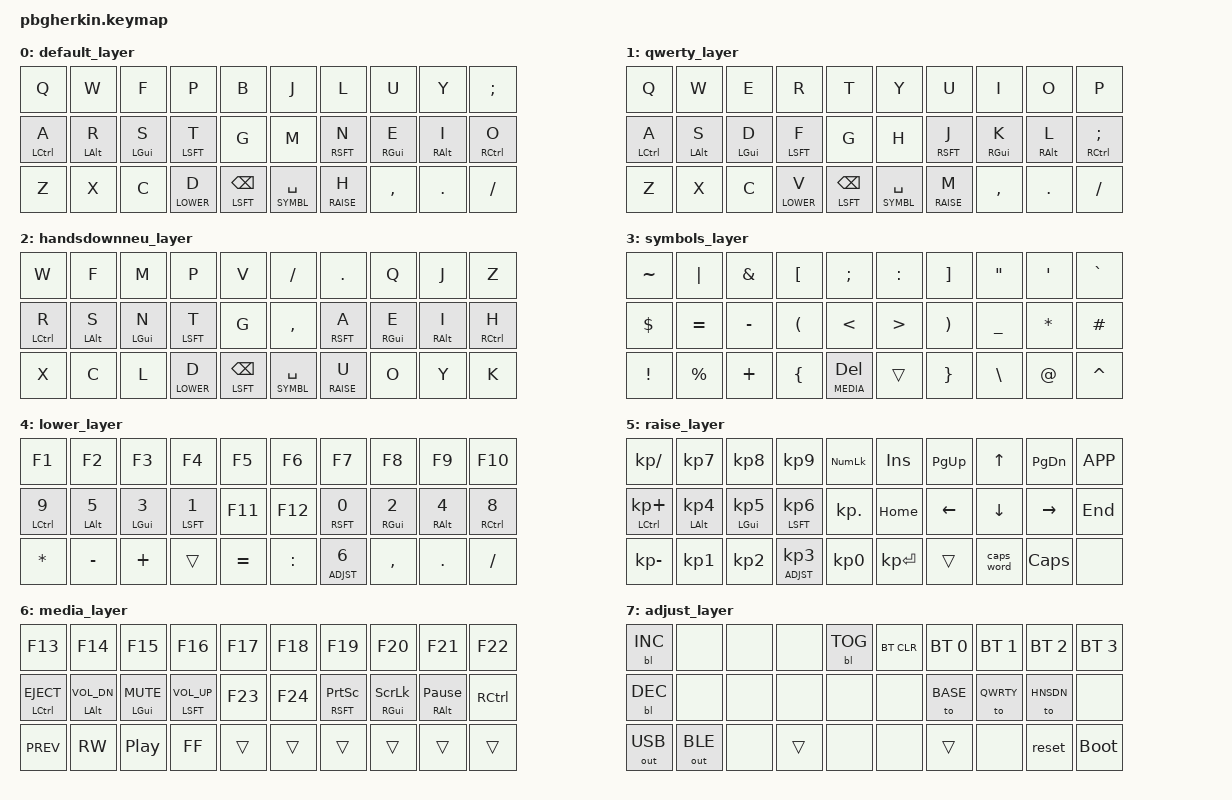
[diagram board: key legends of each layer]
/*
 * Copyright (c) 2021-22 purple-rw
 *
 * SPDX-License-Identifier: MIT
 */

#include <behaviors.dtsi>
#include <dt-bindings/zmk/keys.h>
#include <dt-bindings/zmk/bt.h>
#include <dt-bindings/zmk/outputs.h>

#define BASE  0     // alphas (Colemak-DH)
#define QWRTY 1     // alphas (Qwerty)
#define HNSDN 2     // alphas (Hands Down Neu)
#define SYMBL 3     // symbols
#define LOWER 4     // number row & functions
#define RAISE 5     // keypad & navigation
#define MEDIA 6     // multimedia & functions2
#define ADJST 7     // bluetooth

// Special keys
#define ZOOMOUT      LA(LG(MINUS))
#define ZOOMIN       LA(LG(EQUAL))
#define M_UNDO       LG(Z)
#define M_CUT        LG(X)
#define M_COPY       LG(C)
#define M_PASTE      LG(V)
#define M_SELALL     LG(A)
#define M_TMUX       LC(T)
#define NON_US_TILDE LS(NON_US_HASH)
#define NON_US_PIPE  LS(NON_US_BSLH)

&lt {
    tapping-term-ms = <200>;
    quick_tap_ms = <200>;
    flavor = "balanced";
};

&mt {
    tapping-term-ms = <200>;
    quick_tap_ms = <200>;
    flavor = "balanced";
};

&caps_word {
    continue-list = <UNDERSCORE BACKSPACE DELETE MINUS DOT>;
};

/ {
    behaviors {
        hm: homerow_mods {
            compatible = "zmk,behavior-hold-tap";
            label = "HOMEROW_MODS";
            #binding-cells = <2>;
            flavor = "tap-preferred";
            tapping-term-ms = <200>;
            quick-tap-ms = <200>;
            bindings = <&kp>, <&kp>;
        };

        ph: positional_hold_tap {
            compatible = "zmk,behavior-hold-tap";
            label = "POSITIONAL_HOLD_TAP";
            #binding-cells = <2>;
            flavor = "tap-preferred";
            tapping-term-ms = <200>;
            quick-tap-ms = <200>;
            bindings = <&kp>, <&kp>;
            hold-trigger-key-positions = < 5  6  7  8  9
                                          15 16 17 18 19
                                                27 28 29>;
        };

        th: thumb_hold_tap {
            compatible = "zmk,behavior-hold-tap";
            label = "THUMB_HOLD_TAP";
            #binding-cells = <2>;
            flavor = "balanced";
            tapping-term-ms = <200>;
            quick-tap-ms = <0>;         // no key repeat
            bindings = <&mo>, <&kp>;
        };

        combos {
            compatible = "zmk,combos";

// Colemak (Horizontal Combos)
// -------------------------------------------------------------
// |     |<-  Esc  ->|     |     |     |     |     |     |     |
// |     |     |     |<-   V   ->|<-   K   ->|     |     |     |
// |     |<-  Tab  ->|<- Bkspc ->|<- Space ->|<- Enter ->|     |
// -------------------------------------------------------------
            combo_esc   { timeout-ms = <50>; key-positions = < 1  2>; bindings = <&kp ESC>;   layers = <BASE QWRTY HNSDN SYMBL>; };
            combo_tab   { timeout-ms = <50>; key-positions = <21 22>; bindings = <&kp TAB>;   layers = <BASE QWRTY HNSDN SYMBL>; };
            combo_bspc  { timeout-ms = <50>; key-positions = <23 24>; bindings = <&kp BSPC>;  layers = <BASE QWRTY HNSDN SYMBL>; };
            combo_space { timeout-ms = <50>; key-positions = <25 26>; bindings = <&kp SPACE>; layers = <BASE QWRTY HNSDN SYMBL>; };
            combo_enter { timeout-ms = <50>; key-positions = <27 28>; bindings = <&kp ENTER>; layers = <BASE QWRTY HNSDN SYMBL>; };
            combo_v     { timeout-ms = <50>; key-positions = <13 14>; bindings = <&kp V>;     layers = <BASE>; };
            combo_k     { timeout-ms = <50>; key-positions = <15 16>; bindings = <&kp K>;     layers = <BASE>; };

// Qwerty (Horizontal Combos)
// -------------------------------------------------------------
// |     |<-  Esc  ->|     |     |     |     |     |     |     |
// |     |     |     |<-   B   ->|<-   N   ->|     |     |     |
// |     |<-  Tab  ->|<- Bkspc ->|<- Space ->|<- Enter ->|     |
// -------------------------------------------------------------
            combo_b     { timeout-ms = <50>; key-positions = <13 14>; bindings = <&kp B>;     layers = <QWRTY HNSDN>; };
            combo_n     { timeout-ms = <50>; key-positions = <15 16>; bindings = <&kp N>;     layers = <QWRTY>; };

// Hands Down Neu 30 (Horizontal Combos)
// -------------------------------------------------------------
// |     |<-  Esc  ->|     |     |     |     |     |     |     |
// |     |     |     |<-   B   ->|<-   ;   ->|     |     |     |
// |     |<-  Tab  ->|<- Bkspc ->|<- Space ->|<- Enter ->|     |
// -------------------------------------------------------------
            combo_semi  { timeout-ms = <50>; key-positions = <15 16>; bindings = <&kp SEMI>;  layers = <HNSDN>; };

// Symbols (Horizontal Combos)
// -------------------------------------------------------------
// |     |     |     |     |     |     |     |     |     |     |
// |     |     |     |<-   /   ->|<-   ?   ->|     |     |     |
// |     |     |     |     |     |     |     |     |     |     |
// -------------------------------------------------------------
            combo_slsh2 { timeout-ms = <50>; key-positions = <13 14>; bindings = <&kp FSLH>;  layers = <SYMBL>; };
            combo_qmak2 { timeout-ms = <50>; key-positions = <15 16>; bindings = <&kp QMARK>; layers = <SYMBL>; };

// Number Row & Functions (Horizontal Combos)
// -------------------------------------------------------------
// |     |     |     |     |     |     |     |     |     |     |
// |     |     |     |<-   7   ->|<-   6   ->|     |     |     |
// |     |     |     |     |     |     |     |     |     |     |
// -------------------------------------------------------------
            combo_7     { timeout-ms = <50>; key-positions = <13 14>; bindings = <&kp N7>;    layers = <LOWER>; };
            combo_6     { timeout-ms = <50>; key-positions = <15 16>; bindings = <&kp N6>;    layers = <LOWER>; };

// Keypad & Navigation (Horizontal Combos)
// -------------------------------------------------------------
// |<-   =   ->|     |     |     |     |    Zm-   Zm+    |     |
// |     |     |     |<-   *   ->|     |     |     |     |     |
// |     |     |     |     |     |     |     |     |     |     |
// -------------------------------------------------------------
            combo_kpeql { timeout-ms = <50>; key-positions = < 0  1>; bindings = <&kp KP_EQUAL>;    layers = <RAISE>; };
            combo_kpmul { timeout-ms = <50>; key-positions = <13 14>; bindings = <&kp KP_MULTIPLY>; layers = <RAISE>; };
            combo_zmout { timeout-ms = <50>; key-positions = < 6  7>; bindings = <&kp ZOOMOUT>;     layers = <RAISE>; };
            combo_zmin  { timeout-ms = <50>; key-positions = < 7  8>; bindings = <&kp ZOOMIN>;      layers = <RAISE>; };

// Media (Horizontal Combos)
// -------------------------------------------------------------
// |     |     |     |     |     |     |     |     |     |     |
// |     |     |     |<- Next  ->|     |     |     |     |     |
// |     |     |     |     |     |     |     |     |     |     |
// -------------------------------------------------------------
            combo_next  { timeout-ms = <50>; key-positions = <13 14>; bindings = <&kp C_NEXT>;  layers = <MEDIA>; };


// Bluetooth & 
(Horizontal Combos)
// -------------------------------------------------------------
// |     |     |     |     |     |     |    BT4   BT5   BT6    |
// |     |     |     |     |     |     |     |     |     |     |
// |     |     |     |     |     |     |     |     |     |     |
// -------------------------------------------------------------
            combo_bt4   { timeout-ms = <50>; key-positions = < 6  7>; bindings = <&bt BT_SEL 4>; layers = <ADJST>; };
            combo_bt5   { timeout-ms = <50>; key-positions = < 7  8>; bindings = <&bt BT_SEL 5>; layers = <ADJST>; };
            combo_bt6   { timeout-ms = <50>; key-positions = < 8  9>; bindings = <&bt BT_SEL 6>; layers = <ADJST>; };
/*
            combo_blinc { timeout-ms = <50>; key-positions = < 1  2>; bindings = <&bl BL_INC>;   layers = <ADJST>; };
            combo_bldec { timeout-ms = <50>; key-positions = <11 12>; bindings = <&bl BL_DEC>;   layers = <ADJST>; };
*/
        };
    };

    keymap {
        compatible = "zmk,keymap";

        default_layer {
// (Hold)
// -------------------------------------------------------------
// |     |     |     |     |     |     |     |     |     |     |
// |LCtrl| LAlt| LGui|Shift|     |     |Shift| RGui| RAlt|RCtrl|
// |     |     |     |LOWER|LShft|SYMBL|RAISE|     |     |     |
// -------------------------------------------------------------
// Colemak-DH
// -------------------------------------------------------------
// |  Q  |  W  |  F  |  P  |  B  |  J  |  L  |  U  |  Y  |  ;  |
// |  A  |  R  |  S  |  T  |  G  |  M  |  N  |  E  |  I  |  O  |
// |  Z  |  X  |  C  |  D  |BkSpc|Space|  H  |  ,  |  .  |  /  |
// -------------------------------------------------------------
            bindings = < 
    &kp Q       &kp W       &kp F       &kp P       &kp B         &kp J           &kp L       &kp U       &kp Y       &kp SEMI
    &hm LCTRL A &hm LALT R  &hm LGUI S  &hm LSFT T  &kp G         &kp M           &hm RSFT N  &hm RGUI E  &hm RALT I  &hm RCTRL O
    &kp Z       &kp X       &kp C       &lt LOWER D &mt LSFT BSPC &th SYMBL SPACE &lt RAISE H &kp COMMA   &kp DOT     &kp FSLH
            >;
        } ;

        qwerty_layer {
// Qwerty
// -------------------------------------------------------------
// |  Q  |  W  |  E  |  R  |  T  |  Y  |  U  |  I  |  O  |  P  |
// |  A  |  S  |  D  |  F  |  G  |  H  |  J  |  K  |  L  |  ;  |
// |  Z  |  X  |  C  |  V  |BkSpc|Space|  M  |  ,  |  .  |  /  |
// -------------------------------------------------------------
            bindings = < 
    &kp Q       &kp W       &kp E       &kp R       &kp T         &kp Y           &kp U       &kp I       &kp O       &kp P
    &hm LCTRL A &hm LALT S  &hm LGUI D  &hm LSFT F  &kp G         &kp H           &hm RSFT J  &hm RGUI K  &hm RALT L  &hm RCTRL SEMI
    &kp Z       &kp X       &kp C       &lt LOWER V &mt LSFT BSPC &th SYMBL SPACE &lt RAISE M &kp COMMA   &kp DOT     &kp FSLH
            >;
        } ;

        handsdownneu_layer {
// Hands Down New 30
// -------------------------------------------------------------
// |  W  |  F  |  M  |  P  |  V  |  /  |  .  |  Q  |  J  |  Z  |
// |  R  |  S  |  N  |  T  |  G  |  ,  |  A  |  E  |  I  |  H  |
// |  X  |  C  |  L  |  D  |BkSpc|Space|  U  |  O  |  Y  |  K  |
// -------------------------------------------------------------
            bindings = < 
    &kp W       &kp F       &kp M       &kp P       &kp V         &kp FSLH        &kp DOT     &kp Q       &kp J       &kp Z
    &hm LCTRL R &hm LALT S  &hm LGUI N  &hm LSFT T  &kp G         &kp COMMA       &hm RSFT A  &hm RGUI E  &hm RALT I  &hm RCTRL H
    &kp X       &kp C       &kp L       &lt LOWER D &mt LSFT BSPC &th SYMBL SPACE &lt RAISE U &kp O       &kp Y       &kp K
            >;
        } ;

        symbols_layer {
// symbols
// -------------------------------------------------------------
// |  ~  |  |  |  &  |  [  |  ;  |  :  |  ]  |  "  |  '  |  `  |
// |  $  |  =  |  -  |  (  |  <  |  >  |  )  |  _  |  *  |  #  |
// |  !  |  %  |  +  |  {  | Del | *** |  }  |  \  |  @  |  ^  |
// -------------------------------------------------------------
            bindings = <
    &kp TILDE   &kp PIPE    &kp AMPS    &kp LBKT    &kp SEMI      &kp COLON   &kp RBKT    &kp DQT     &kp SQT     &kp GRAVE 
    &kp DLLR    &kp EQUAL   &kp MINUS   &kp LPAR    &kp LT        &kp GT      &kp RPAR    &kp UNDER   &kp STAR    &kp HASH
    &kp EXCL    &kp PRCNT   &kp PLUS    &kp LBRC    &lt MEDIA DEL &trans      &kp RBRC    &kp BSLH    &kp AT      &kp CARET
            >;
        };

        lower_layer {
// number row & functions
// -------------------------------------------------------------
// | F1  | F2  | F3  | F4  | F5  | F6  | F7  | F8  | F9  | F10 |
// |  9  |  5  |  3  |  1  | F11 | F12 |  0  |  2  |  4  |  8  |
// |  *  |  -  |  +  | *** |  =  |  :  |  6  |  ,  |  .  |  /  |
// -------------------------------------------------------------
            bindings = <
    &kp F1       &kp F2       &kp F3       &kp F4       &kp F5       &kp F6       &kp F7       &kp F8       &kp F9       &kp F10
    &hm LCTRL N9 &hm LALT N5  &hm LGUI N3  &hm LSFT N1  &kp F11      &kp F12      &hm RSFT N0  &hm RGUI N2  &hm RALT N4  &hm RCTRL N8
    &kp STAR     &kp MINUS    &kp PLUS     &trans       &kp EQUAL    &kp COLON    &lt ADJST N6 &kp COMMA    &kp DOT      &kp FSLH
            >;
        };

        raise_layer {
// keypad & navigation
// -------------------------------------------------------------
// |  /  |  7  |  8  |  9  |NumLk| Ins |PgUp | Up  |PgDn |Menu |
// |  +  |  4  |  5  |  6  |  .  |Home |Left |Down |Right| End |
// |  -  |  1  |  2  |  3  |  0  |Enter| *** |CapWd|CapLk|     |
// -------------------------------------------------------------
            bindings = <
    &kp KP_DIVIDE     &kp KP_N7      &kp KP_N8      &kp KP_N9       &kp KP_NUM  &kp INS      &kp PG_UP   &kp UP     &kp PG_DN  &kp K_APP
    &ph LCTRL KP_PLUS &ph LALT KP_N4 &ph LGUI KP_N5 &ph LSFT KP_N6  &kp KP_DOT  &kp HOME     &kp LEFT    &kp DOWN   &kp RIGHT  &kp END
    &kp KP_MINUS      &kp KP_N1      &kp KP_N2      &lt ADJST KP_N3 &kp KP_N0   &kp KP_ENTER &trans      &caps_word &kp CAPS   &none
            >;
        };

        media_layer {
// Multimedia & Functions2
// -------------------------------------------------------------
// | F13 | F14 | F15 | F16 | F17 | F18 | F19 | F20 | F21 | F22 |
// |Eject|Vol- |Mute |Vol+ | F23 | F24 |PrnSc|ScrLk|Pause|     |
// |Prev |Rewnd|Play |FFwd | *** | *** |     |     |     |     |
// -------------------------------------------------------------
            bindings = <
    &kp F13           &kp F14           &kp F15         &kp F16           &kp F17   &kp F18   &kp F19        &kp F20        &kp F21              &kp F22
    &hm LCTRL C_EJECT &hm LALT C_VOL_DN &hm LGUI C_MUTE &hm LSFT C_VOL_UP &kp F23   &kp F24   &hm RSFT PSCRN &hm RGUI SLCK  &hm RALT PAUSE_BREAK &kp RCTRL
    &kp C_PREV        &kp C_RW          &kp C_PP        &kp C_FF          &trans    &trans    &trans         &trans         &trans               &trans
            >;
        };

        adjust_layer {
// -------------------------------------------------------------
// |Bri+ |     |     |     |Toggl|BTClr| BT0 | BT1 | BT2 | BT3 |
// |Bri- |     |     |     |     |     |Colmk|Qwrty|HnsDn|     |
// | USB | BLE |     | *** |     |     | *** |     |Reset|BootL|
// -------------------------------------------------------------
            bindings = <
    &bl BL_INC   &none        &none   &none   &bl BL_TOG &bt BT_CLR &bt BT_SEL 0 &bt BT_SEL 1 &bt BT_SEL 2 &bt BT_SEL 3
    &bl BL_DEC   &none        &none   &none   &none      &none      &to BASE     &to QWRTY    &to HNSDN    &none
    &out OUT_USB &out OUT_BLE &none   &trans  &none      &none      &trans       &none        &reset       &bootloader
            >;

        };
    };
};
